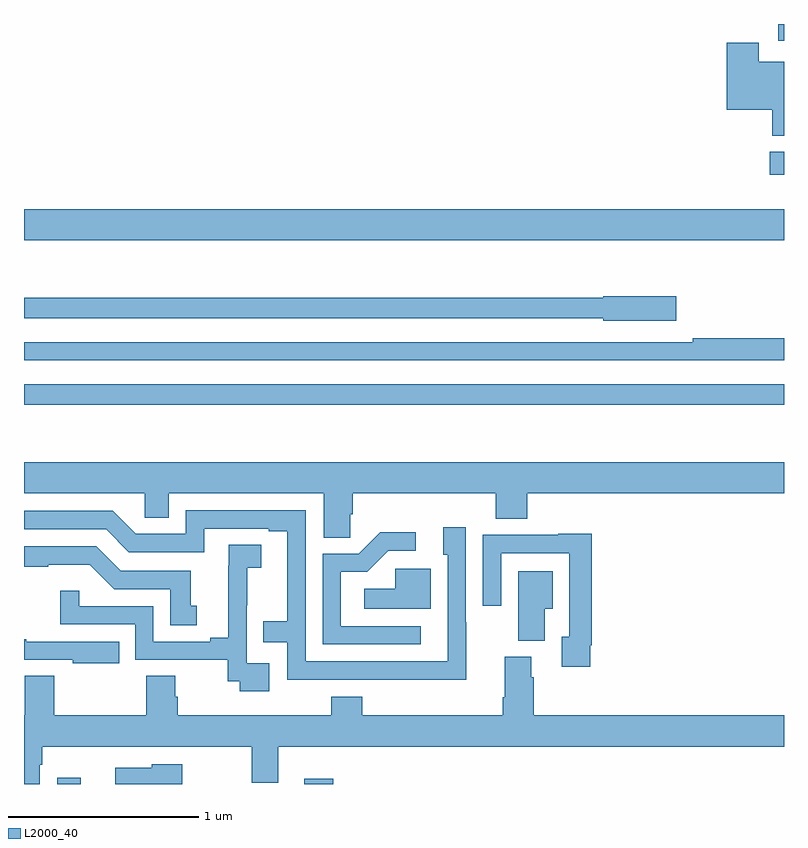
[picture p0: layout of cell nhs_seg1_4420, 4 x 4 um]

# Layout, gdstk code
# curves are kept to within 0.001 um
import gdstk
lib = gdstk.Library(unit=1e-6, precision=1e-09)
def R(c, l, rs):  # rectangles x0, y0, x1, y1
    for r in rs: c.add(gdstk.rectangle(r[:2], r[2:], *l))
def P(c, l, *ps):  # polygons
    for p in ps: c.add(gdstk.Polygon(p, *l))
L2000_40 = (2000, 40)

nhs_seg1_4420 = lib.new_cell('nhs_seg1_4420')
R(nhs_seg1_4420, L2000_40, [(351.176,554.199,351.298,554.233), (352.475,554.199,352.628,554.227), (351,556.194,355,556.302), (351,557.06,355,557.224), (354.924,557.405,355,557.527), (354.971,558.111,355,558.199)])
P(nhs_seg1_4420, L2000_40, [(355,558.001),(354.868,558.001),(354.868,558.1),(354.698,558.1),(354.698,557.747),(354.938,557.747),(354.938,557.612),(355,557.612)],
  [(354.433,556.767),(354.048,556.767),(354.048,556.759),(351,556.759),(351,556.65),(354.048,556.65),(354.048,556.637),(354.433,556.637)],
  [(355,556.544),(354.52,556.544),(354.52,556.524),(351,556.524),(351,556.428),(355,556.428)],
  [(352.716,555.619),(352.73,555.619),(352.73,555.728),(353.483,555.728),(353.483,555.595),(353.648,555.595),(353.648,555.728),(355,555.728),(355,555.892),(351,555.892),(351,555.728),(351.636,555.728),(351.636,555.601),(351.763,555.601),(351.763,555.728),(352.577,555.728),(352.577,555.496),(352.716,555.496)],
  [(353.327,555.05),(353.325,555.05),(353.325,555.55),(353.207,555.55),(353.207,555.405),(353.229,555.405),(353.229,554.844),(352.482,554.844),(352.482,555.639),(351.852,555.639),(351.852,555.516),(351.588,555.516),(351.468,555.636),(351,555.636),(351,555.54),(351.432,555.54),(351.552,555.42),(351.948,555.42),(351.948,555.543),(352.289,555.543),(352.289,555.528),(352.385,555.528),(352.385,555.055),(352.258,555.055),(352.258,554.946),(352.386,554.946),(352.386,554.748),(353.327,554.747)],
  [(353.089,555.03),(352.668,555.03),(352.668,555.315),(352.806,555.315),(352.917,555.426),(353.062,555.426),(353.062,555.524),(352.874,555.524),(352.761,555.411),(352.572,555.411),(352.572,554.934),(353.089,554.934)],
  [(353.98,554.929),(353.987,554.929),(353.987,555.517),(353.811,555.517),(353.811,555.51),(353.415,555.51),(353.415,555.138),(353.511,555.138),(353.511,555.414),(353.871,555.414),(353.871,554.973),(353.831,554.973),(353.831,554.817),(353.98,554.817)],
  [(352.291,554.835),(352.173,554.835),(352.173,555.139),(352.175,555.139),(352.175,555.337),(352.249,555.337),(352.249,555.458),(352.078,555.458),(352.078,555.347),(352.076,555.347),(352.076,554.969),(351.98,554.969),(351.98,554.949),(351.681,554.949),(351.681,555.135),(351.291,555.135),(351.291,555.217),(351.19,555.217),(351.19,555.039),(351.585,555.039),(351.585,554.853),(352.072,554.853),(352.072,554.739),(352.135,554.739),(352.135,554.688),(352.291,554.688)],
  [(351.91,555.138),(351.877,555.138),(351.877,555.321),(351.51,555.321),(351.381,555.45),(351,555.45),(351,555.342),(351.128,555.342),(351.128,555.353),(351.346,555.353),(351.474,555.225),(351.77,555.225),(351.77,555.034),(351.91,555.034)],
  [(353.14,555.333),(352.953,555.333),(352.953,555.226),(352.791,555.226),(352.791,555.122),(353.14,555.122)],
  [(353.74,555.122),(353.782,555.122),(353.782,555.319),(353.6,555.319),(353.6,554.953),(353.74,554.953)],
  [(351.5,554.949),(351.013,554.949),(351.013,554.962),(351,554.962),(351,554.853),(351.257,554.853),(351.257,554.834),(351.5,554.834)],
  [(351.084,554.3),(351.097,554.3),(351.097,554.396),(352.199,554.396),(352.199,554.206),(352.339,554.206),(352.339,554.396),(355,554.396),(355,554.56),(353.684,554.56),(353.684,554.762),(353.671,554.762),(353.671,554.868),(353.531,554.868),(353.531,554.656),(353.519,554.656),(353.519,554.56),(352.781,554.56),(352.781,554.659),(352.616,554.659),(352.616,554.56),(351.809,554.56),(351.809,554.658),(351.796,554.658),(351.796,554.768),(351.644,554.768),(351.644,554.56),(351.158,554.56),(351.158,554.768),(351.005,554.768),(351.005,554.56),(351,554.56),(351,554.199),(351.084,554.199)],
  [(351.832,554.302),(351.672,554.302),(351.672,554.284),(351.48,554.284),(351.48,554.199),(351.832,554.199)])

lib.write_gds('nhs_seg1_4420.gds')
